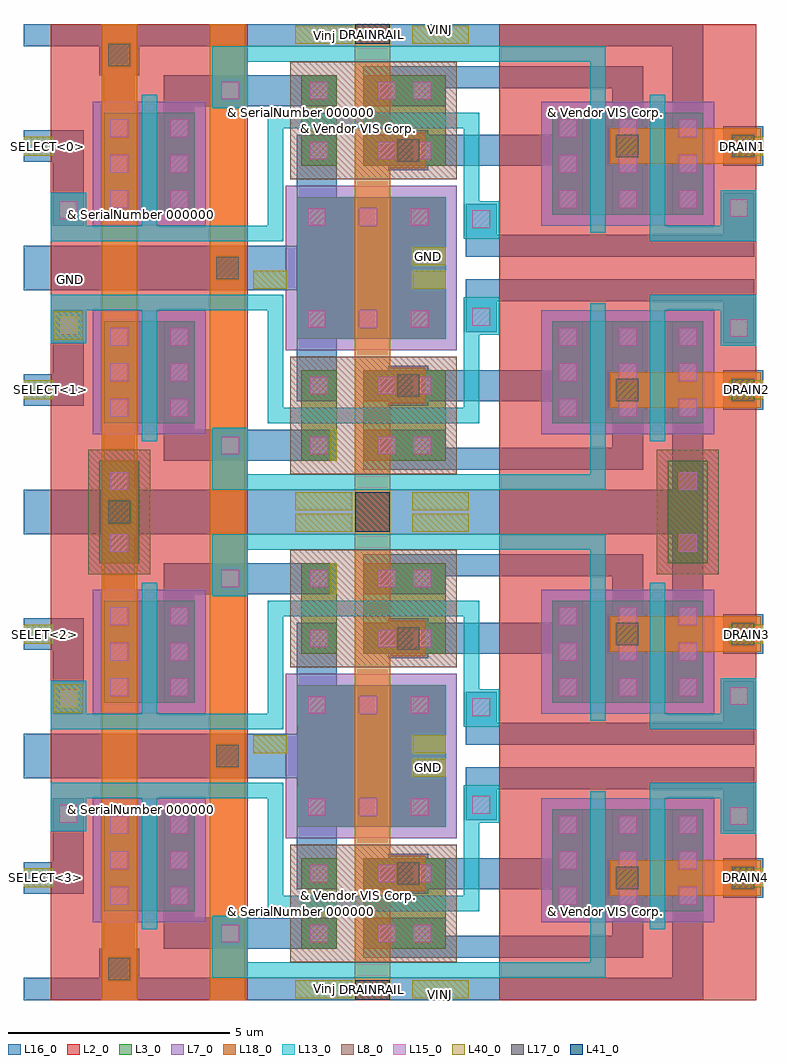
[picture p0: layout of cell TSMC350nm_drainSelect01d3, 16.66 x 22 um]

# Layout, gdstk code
import gdstk
lib = gdstk.Library(unit=1e-6, precision=1e-09)
def R(c, l, rs):  # rectangles x0, y0, x1, y1
    for r in rs: c.add(gdstk.rectangle(r[:2], r[2:], *l))
def A(c, l, x, y, w, h, nx, ny, dx, dy):  # array of equal rectangles
    R(c, l, [(x+i*dx, y+j*dy, x+i*dx+w, y+j*dy+h) for i in range(nx) for j in range(ny)])
L2_0 = (2, 0)
L3_0 = (3, 0)
L7_0 = (7, 0)
L8_0 = (8, 0)
L13_0 = (13, 0)
L15_0 = (15, 0)
L16_0 = (16, 0)
L17_0 = (17, 0)
L18_0 = (18, 0)
L40_0 = (40, 0)
L41_0 = (41, 0)

m1_poly1_cdns_7270242230 = lib.new_cell('M1_POLY1_CDNS_727024223051')
R(m1_poly1_cdns_7270242230, L13_0, [(-0.4,-0.4,0.4,0.4)])
R(m1_poly1_cdns_7270242230, L15_0, [(-0.2,-0.2,0.2,0.2)])
R(m1_poly1_cdns_7270242230, L16_0, [(-0.35,-0.35,0.35,0.35)])

tsmc350nm_vinjinv2 = lib.new_cell('TSMC350nm_VinjInv2')
R(tsmc350nm_vinjinv2, L2_0, [(0,0,4.45,5.5)])
R(tsmc350nm_vinjinv2, L3_0, [(5.55,0.7,6.45,1.6), (1.2,1.2,1.9,3.5), (1.2,1.2,1.9,3.5), (1.9,1.2,2.55,3.5), (2.55,1.2,3.25,3.5), (2.55,1.2,3.25,3.5), (5.65,2.3,6.45,3), (5.65,2.3,6.45,3), (5.65,3,6.45,3.65), (5.65,3.65,6.45,4.35), (5.65,3.65,6.45,4.35), (1.1,4.35,2,5.25)])
R(tsmc350nm_vinjinv2, L7_0, [(5.3,0,6.7,1.85), (0.95,0.95,3.5,3.75)])
R(tsmc350nm_vinjinv2, L8_0, [(5.4,2,6.7,4.65), (0.85,4.1,2.25,5.5)])
R(tsmc350nm_vinjinv2, L13_0, [(0,0.6,5.25,0.95), (4.9,0.6,5.25,3.5), (2.05,0.8,2.4,3.9), (5.25,3.15,6.85,3.5)])
A(tsmc350nm_vinjinv2, L15_0, 1.35, 1.35, 0.4, 0.4, 1, 3, 0, 0.8)
A(tsmc350nm_vinjinv2, L15_0, 2.7, 1.35, 0.4, 0.4, 1, 3, 0, 0.8)
R(tsmc350nm_vinjinv2, L15_0, [(5.8,0.95,6.2,1.35), (5.85,2.45,6.25,2.85), (5.85,3.8,6.25,4.2), (1.35,4.6,1.75,5)])
R(tsmc350nm_vinjinv2, L16_0, [(0,0,7.65,0.5), (5.55,0.02,6.45,3), (1.2,1.2,1.9,3.5), (1.2,1.2,1.9,5.45), (2.55,1.2,3.25,3.5), (2.55,1.2,3.25,4.25), (5.65,2.3,6.45,3), (2.55,3.65,6.45,4.35), (5.65,3.65,6.45,4.35), (0,5,7.65,5.5)])
R(tsmc350nm_vinjinv2, L40_0, [(4.57,0.06,5.32,0.47), (0.07,0.97,0.71,1.62), (6.3,3.65,6.45,4.35), (5.52,5.05,6.8,5.46)])
tsmc350nm_vinjinv2.add(gdstk.Reference(m1_poly1_cdns_7270242230, (0.4,1.3)))
tsmc350nm_vinjinv2.add(gdstk.Label('& SerialNumber 000000', (5.65,3.5), layer=16, texttype=0))
tsmc350nm_vinjinv2.add(gdstk.Label('& Distributor VIS', (5.65,3.5), layer=16, texttype=0))
tsmc350nm_vinjinv2.add(gdstk.Label('& Metric 1', (5.65,3.5), layer=16, texttype=0))
tsmc350nm_vinjinv2.add(gdstk.Label('& Version    \t  1.7A', (5.65,3.5), layer=16, texttype=0))
tsmc350nm_vinjinv2.add(gdstk.Label('& PDKName     vis35cv', (5.65,3.5), layer=16, texttype=0))
tsmc350nm_vinjinv2.add(gdstk.Label('& Vendor VIS Corp.', (5.65,3.5), layer=16, texttype=0))
tsmc350nm_vinjinv2.add(gdstk.Label('& SerialNumber 000000', (2.05,1.2), layer=16, texttype=0))
tsmc350nm_vinjinv2.add(gdstk.Label('& Distributor VIS', (2.05,1.2), layer=16, texttype=0))
tsmc350nm_vinjinv2.add(gdstk.Label('& Metric 1', (2.05,1.2), layer=16, texttype=0))
tsmc350nm_vinjinv2.add(gdstk.Label('& Version    \t  1.7A', (2.05,1.2), layer=16, texttype=0))
tsmc350nm_vinjinv2.add(gdstk.Label('& PDKName     vis35cv', (2.05,1.2), layer=16, texttype=0))
tsmc350nm_vinjinv2.add(gdstk.Label('& Vendor VIS Corp.', (2.05,1.2), layer=16, texttype=0))
tsmc350nm_vinjinv2.add(gdstk.Label('& SerialNumber 000000', (2.05,1.2), layer=63, texttype=63))
tsmc350nm_vinjinv2.add(gdstk.Label('& Distributor VIS', (2.05,1.2), layer=63, texttype=63))
tsmc350nm_vinjinv2.add(gdstk.Label('& Metric 1', (2.05,1.2), layer=63, texttype=63))
tsmc350nm_vinjinv2.add(gdstk.Label('& Version    \t  1.7A', (2.05,1.2), layer=63, texttype=63))
tsmc350nm_vinjinv2.add(gdstk.Label('& PDKName     vis35cv', (2.05,1.2), layer=63, texttype=63))
tsmc350nm_vinjinv2.add(gdstk.Label('& Vendor VIS Corp.', (2.05,1.2), layer=63, texttype=63))
tsmc350nm_vinjinv2.add(gdstk.Label('& SerialNumber 000000', (5.65,3.5), layer=63, texttype=63))
tsmc350nm_vinjinv2.add(gdstk.Label('& Vendor VIS Corp.', (5.65,3.5), layer=63, texttype=63))
tsmc350nm_vinjinv2.add(gdstk.Label('& PDKName     vis35cv', (5.65,3.5), layer=63, texttype=63))
tsmc350nm_vinjinv2.add(gdstk.Label('& Version    \t  1.7A', (5.65,3.5), layer=63, texttype=63))
tsmc350nm_vinjinv2.add(gdstk.Label('& Metric 1', (5.65,3.5), layer=63, texttype=63))
tsmc350nm_vinjinv2.add(gdstk.Label('& Distributor VIS', (5.65,3.5), layer=63, texttype=63))
tsmc350nm_vinjinv2.add(gdstk.Label('OUT', (6.38,3.94), layer=40, texttype=0))
tsmc350nm_vinjinv2.add(gdstk.Label('Vinj', (6.17,5.25), layer=40, texttype=0))
tsmc350nm_vinjinv2.add(gdstk.Label('IN', (0.39,1.28), layer=40, texttype=0))
tsmc350nm_vinjinv2.add(gdstk.Label('VGND', (4.97,0.26), layer=40, texttype=0))

m2_m1_cdns_727024223050 = lib.new_cell('M2_M1_CDNS_727024223050')
R(m2_m1_cdns_727024223050, L16_0, [(-0.45,-0.45,0.45,0.45)])
R(m2_m1_cdns_727024223050, L17_0, [(-0.25,-0.25,0.25,0.25)])
R(m2_m1_cdns_727024223050, L18_0, [(-0.4,-0.4,0.4,0.4)])

m1_nactive_cdns_72702422 = lib.new_cell('M1_NACTIVE_CDNS_727024223052')
R(m1_nactive_cdns_72702422, L3_0, [(-0.45,-0.45,0.45,0.45)])
R(m1_nactive_cdns_72702422, L8_0, [(-0.7,-0.7,0.7,0.7)])
R(m1_nactive_cdns_72702422, L15_0, [(-0.2,-0.2,0.2,0.2)])
R(m1_nactive_cdns_72702422, L16_0, [(-0.35,-0.35,0.35,0.35)])

tsmc350nm_tgatevinj01d3 = lib.new_cell('TSMC350nm_TgateVinj01d3')
R(tsmc350nm_tgatevinj01d3, L2_0, [(10.11,0,15.91,5.5)])
R(tsmc350nm_tgatevinj01d3, L3_0, [(6.4,0.7,8.91,1.6), (11.31,1.2,12.01,3.5), (11.31,1.2,12.01,3.5), (12.01,1.2,12.66,3.5), (12.66,1.2,13.36,3.5), (12.66,1.2,13.36,3.5), (13.36,1.2,14.01,3.5), (14.01,1.2,14.71,3.5), (14.01,1.2,14.71,3.5), (7.05,2.3,8.91,3), (7.05,2.3,8.91,3), (7.05,3,8.91,3.65), (7.05,3.65,8.91,4.35), (7.05,3.65,8.91,4.35)])
R(tsmc350nm_tgatevinj01d3, L7_0, [(6.7,0,9.16,1.85), (11.06,0.95,14.96,3.75)])
R(tsmc350nm_tgatevinj01d3, L8_0, [(6.7,2,9.16,4.65)])
R(tsmc350nm_tgatevinj01d3, L13_0, [(13.51,0.6,15.91,0.95), (9.31,0.66,9.66,3.5), (9.66,0.66,10.11,0.7), (12.16,0.8,12.51,5), (13.51,0.8,13.86,3.9), (6.65,3.15,9.31,3.5), (3.65,3.6,4.45,4.71), (3.65,4.65,12.51,5)])
A(tsmc350nm_tgatevinj01d3, L15_0, 11.46, 1.35, 0.4, 0.4, 3, 3, 1.35, 0.8)
R(tsmc350nm_tgatevinj01d3, L15_0, [(6.96,0.95,7.36,1.35), (8.12,0.95,8.52,1.35), (7.38,2.45,7.78,2.85), (8.18,2.45,8.58,2.85), (7.38,3.8,7.78,4.2), (8.18,3.8,8.58,4.2)])
R(tsmc350nm_tgatevinj01d3, L16_0, [(-0.6,0,0,0.5), (5.55,0,8.91,1.6), (6.85,0,8.91,0.5), (9.36,0.25,15.86,0.75), (15.16,0.75,15.86,1), (11.31,1.2,12.01,3.5), (12.66,1.2,13.36,3.5), (12.66,1.2,13.36,3.5), (14.01,1.2,14.71,3.5), (0.05,1.65,0.75,2.4), (7.05,2.3,8.91,3), (8.11,2.3,11.31,3), (-0.6,2.4,0.75,3.1), (12.66,3.5,13.36,4.55), (14.01,3.5,14.71,4.45), (7.05,3.65,8.91,4.35), (7.05,4.05,13.36,4.55), (-0.6,5,0,5.5), (6.85,5,14.71,5.5)])
R(tsmc350nm_tgatevinj01d3, L18_0, [(6.86,0,7.66,5.5), (12.6,2.35,15.86,3.15)])
R(tsmc350nm_tgatevinj01d3, L40_0, [(8.16,0.06,8.91,0.47), (0.1,1,0.67,1.59), (15.31,2.53,15.98,2.96), (8.15,5.05,9.43,5.46)])
R(tsmc350nm_tgatevinj01d3, L41_0, [(6.87,5.06,7.65,5.49)])
tsmc350nm_tgatevinj01d3.add(gdstk.Reference(tsmc350nm_vinjinv2, (0,0)))
tsmc350nm_tgatevinj01d3.add(gdstk.Reference(m1_poly1_cdns_7270242230, (9.71,1.1)))
tsmc350nm_tgatevinj01d3.add(gdstk.Reference(m1_poly1_cdns_7270242230, (15.51,1.35)))
tsmc350nm_tgatevinj01d3.add(gdstk.Reference(m1_poly1_cdns_7270242230, (4.05,4)))
tsmc350nm_tgatevinj01d3.add(gdstk.Reference(m2_m1_cdns_727024223050, (13,2.75)))
tsmc350nm_tgatevinj01d3.add(gdstk.Reference(m2_m1_cdns_727024223050, (15.61,2.75)))
tsmc350nm_tgatevinj01d3.add(gdstk.Reference(m2_m1_cdns_727024223050, (8.06,2.65)))
tsmc350nm_tgatevinj01d3.add(gdstk.Reference(m1_nactive_cdns_72702422, (14.36,4.8)))
tsmc350nm_tgatevinj01d3.add(gdstk.Label('& Version    \t  1.7A', (12.51,3.5), layer=16, texttype=0))
tsmc350nm_tgatevinj01d3.add(gdstk.Label('& SerialNumber 000000', (12.51,3.5), layer=16, texttype=0))
tsmc350nm_tgatevinj01d3.add(gdstk.Label('& Metric 1', (12.51,3.5), layer=16, texttype=0))
tsmc350nm_tgatevinj01d3.add(gdstk.Label('& Vendor VIS Corp.', (12.51,3.5), layer=16, texttype=0))
tsmc350nm_tgatevinj01d3.add(gdstk.Label('& Distributor VIS', (12.51,3.5), layer=16, texttype=0))
tsmc350nm_tgatevinj01d3.add(gdstk.Label('& PDKName     vis35cv', (12.51,3.5), layer=16, texttype=0))
tsmc350nm_tgatevinj01d3.add(gdstk.Label('& Distributor VIS', (13.86,3.5), layer=16, texttype=0))
tsmc350nm_tgatevinj01d3.add(gdstk.Label('& Metric 1', (13.86,3.5), layer=16, texttype=0))
tsmc350nm_tgatevinj01d3.add(gdstk.Label('& Version    \t  1.7A', (13.86,3.5), layer=16, texttype=0))
tsmc350nm_tgatevinj01d3.add(gdstk.Label('& PDKName     vis35cv', (13.86,3.5), layer=16, texttype=0))
tsmc350nm_tgatevinj01d3.add(gdstk.Label('& Vendor VIS Corp.', (13.86,3.5), layer=16, texttype=0))
tsmc350nm_tgatevinj01d3.add(gdstk.Label('& SerialNumber 000000', (13.86,3.5), layer=16, texttype=0))
tsmc350nm_tgatevinj01d3.add(gdstk.Label('& Vendor VIS Corp.', (6.95,3.15), layer=16, texttype=0))
tsmc350nm_tgatevinj01d3.add(gdstk.Label('& PDKName     vis35cv', (6.95,3.15), layer=16, texttype=0))
tsmc350nm_tgatevinj01d3.add(gdstk.Label('& Version    \t  1.7A', (6.95,3.15), layer=16, texttype=0))
tsmc350nm_tgatevinj01d3.add(gdstk.Label('& Metric 1', (6.95,3.15), layer=16, texttype=0))
tsmc350nm_tgatevinj01d3.add(gdstk.Label('& Distributor VIS', (6.95,3.15), layer=16, texttype=0))
tsmc350nm_tgatevinj01d3.add(gdstk.Label('& SerialNumber 000000', (6.95,3.15), layer=16, texttype=0))
tsmc350nm_tgatevinj01d3.add(gdstk.Label('& Vendor VIS Corp.', (7.05,3.5), layer=16, texttype=0))
tsmc350nm_tgatevinj01d3.add(gdstk.Label('& PDKName     vis35cv', (7.05,3.5), layer=16, texttype=0))
tsmc350nm_tgatevinj01d3.add(gdstk.Label('& Version    \t  1.7A', (7.05,3.5), layer=16, texttype=0))
tsmc350nm_tgatevinj01d3.add(gdstk.Label('& Metric 1', (7.05,3.5), layer=16, texttype=0))
tsmc350nm_tgatevinj01d3.add(gdstk.Label('& Distributor VIS', (7.05,3.5), layer=16, texttype=0))
tsmc350nm_tgatevinj01d3.add(gdstk.Label('& SerialNumber 000000', (7.05,3.5), layer=16, texttype=0))
tsmc350nm_tgatevinj01d3.add(gdstk.Label('& Vendor VIS Corp.', (12.51,3.5), layer=63, texttype=63))
tsmc350nm_tgatevinj01d3.add(gdstk.Label('& PDKName     vis35cv', (12.51,3.5), layer=63, texttype=63))
tsmc350nm_tgatevinj01d3.add(gdstk.Label('& Distributor VIS', (12.51,3.5), layer=63, texttype=63))
tsmc350nm_tgatevinj01d3.add(gdstk.Label('& SerialNumber 000000', (12.51,3.5), layer=63, texttype=63))
tsmc350nm_tgatevinj01d3.add(gdstk.Label('& Version    \t  1.7A', (12.51,3.5), layer=63, texttype=63))
tsmc350nm_tgatevinj01d3.add(gdstk.Label('& Metric 1', (12.51,3.5), layer=63, texttype=63))
tsmc350nm_tgatevinj01d3.add(gdstk.Label('& SerialNumber 000000', (13.86,3.5), layer=63, texttype=63))
tsmc350nm_tgatevinj01d3.add(gdstk.Label('& Distributor VIS', (13.86,3.5), layer=63, texttype=63))
tsmc350nm_tgatevinj01d3.add(gdstk.Label('& Metric 1', (13.86,3.5), layer=63, texttype=63))
tsmc350nm_tgatevinj01d3.add(gdstk.Label('& Version    \t  1.7A', (13.86,3.5), layer=63, texttype=63))
tsmc350nm_tgatevinj01d3.add(gdstk.Label('& PDKName     vis35cv', (13.86,3.5), layer=63, texttype=63))
tsmc350nm_tgatevinj01d3.add(gdstk.Label('& Vendor VIS Corp.', (13.86,3.5), layer=63, texttype=63))
tsmc350nm_tgatevinj01d3.add(gdstk.Label('& Vendor VIS Corp.', (6.95,3.15), layer=63, texttype=63))
tsmc350nm_tgatevinj01d3.add(gdstk.Label('& PDKName     vis35cv', (6.95,3.15), layer=63, texttype=63))
tsmc350nm_tgatevinj01d3.add(gdstk.Label('& Version    \t  1.7A', (6.95,3.15), layer=63, texttype=63))
tsmc350nm_tgatevinj01d3.add(gdstk.Label('& Metric 1', (6.95,3.15), layer=63, texttype=63))
tsmc350nm_tgatevinj01d3.add(gdstk.Label('& Distributor VIS', (6.95,3.15), layer=63, texttype=63))
tsmc350nm_tgatevinj01d3.add(gdstk.Label('& SerialNumber 000000', (6.95,3.15), layer=63, texttype=63))
tsmc350nm_tgatevinj01d3.add(gdstk.Label('& Vendor VIS Corp.', (7.05,3.5), layer=63, texttype=63))
tsmc350nm_tgatevinj01d3.add(gdstk.Label('& PDKName     vis35cv', (7.05,3.5), layer=63, texttype=63))
tsmc350nm_tgatevinj01d3.add(gdstk.Label('& Version    \t  1.7A', (7.05,3.5), layer=63, texttype=63))
tsmc350nm_tgatevinj01d3.add(gdstk.Label('& Metric 1', (7.05,3.5), layer=63, texttype=63))
tsmc350nm_tgatevinj01d3.add(gdstk.Label('& Distributor VIS', (7.05,3.5), layer=63, texttype=63))
tsmc350nm_tgatevinj01d3.add(gdstk.Label('& SerialNumber 000000', (7.05,3.5), layer=63, texttype=63))
tsmc350nm_tgatevinj01d3.add(gdstk.Label('VINJ', (8.78,5.37), layer=40, texttype=0))
tsmc350nm_tgatevinj01d3.add(gdstk.Label('DRAIN', (15.67,2.74), layer=40, texttype=0))
tsmc350nm_tgatevinj01d3.add(gdstk.Label('select', (0.38,1.12), layer=40, texttype=0))
tsmc350nm_tgatevinj01d3.add(gdstk.Label('GND', (8.51,0.26), layer=40, texttype=0))
tsmc350nm_tgatevinj01d3.add(gdstk.Label('DRAINRAIL', (7.25,5.27), layer=41, texttype=0))

tsmc350nm_drainselect01d = lib.new_cell('TSMC350nm_drainSelect01d3')
R(tsmc350nm_drainselect01d, L2_0, [(0.6,0,5.05,5.5), (10.71,0,16.51,5.5), (0.6,16.5,5.05,22), (10.71,16.5,16.51,22)])
R(tsmc350nm_drainselect01d, L3_0, [(6.25,1.15,7.05,1.85), (6.25,1.15,7.05,1.85), (7.65,1.15,9.51,1.85), (7.65,1.15,9.51,1.85), (6.25,1.85,7.05,2.5), (7.65,1.85,9.51,2.5), (1.8,2,2.5,4.3), (1.8,2,2.5,4.3), (2.5,2,3.15,4.3), (3.15,2,3.85,4.3), (3.15,2,3.85,4.3), (11.91,2,12.61,4.3), (11.91,2,12.61,4.3), (12.61,2,13.26,4.3), (13.26,2,13.96,4.3), (13.26,2,13.96,4.3), (13.96,2,14.61,4.3), (14.61,2,15.31,4.3), (14.61,2,15.31,4.3), (6.25,2.5,7.05,3.2), (6.25,2.5,7.05,3.2), (7.65,2.5,9.51,3.2), (7.65,2.5,9.51,3.2), (6.15,3.9,7.05,4.8), (7,3.9,9.51,4.8), (6.16,4.8,9.51,6.2), (1.7,10.75,2.6,11.25), (1.7,10.75,2.6,11.25), (14.51,10.75,15.41,11.25), (6.15,15.8,9.51,17.2), (6.15,17.2,7.05,18.1), (7,17.2,9.51,18.1), (1.8,17.7,2.5,20), (1.8,17.7,2.5,20), (2.5,17.7,3.15,20), (3.15,17.7,3.85,20), (3.15,17.7,3.85,20), (11.91,17.7,12.61,20), (11.91,17.7,12.61,20), (12.61,17.7,13.26,20), (13.26,17.7,13.96,20), (13.26,17.7,13.96,20), (13.96,17.7,14.61,20), (14.61,17.7,15.31,20), (14.61,17.7,15.31,20), (6.25,18.8,7.05,19.5), (6.25,18.8,7.05,19.5), (7.65,18.8,9.51,19.5), (7.65,18.8,9.51,19.5), (6.25,19.5,7.05,20.15), (7.65,19.5,9.51,20.15), (6.25,20.15,7.05,20.85), (6.25,20.15,7.05,20.85), (7.65,20.15,9.51,20.85), (7.65,20.15,9.51,20.85)])
R(tsmc350nm_drainselect01d, L7_0, [(1.55,1.75,4.1,4.55), (11.66,1.75,15.56,4.55), (5.9,3.65,7.3,5.5), (7.3,3.65,9.76,5.5), (5.9,16.5,7.3,18.35), (7.3,16.5,9.76,18.35), (1.55,17.45,4.1,20.25), (11.66,17.45,15.56,20.25)])
R(tsmc350nm_drainselect01d, L8_0, [(6,0.85,7.3,3.5), (7.3,0.85,9.76,3.5), (6,18.5,7.3,21.15), (7.3,18.5,9.76,21.15)])
R(tsmc350nm_drainselect01d, L13_0, [(4.25,0.5,13.11,0.85), (12.76,0.5,13.11,4.7), (4.25,0.79,5.05,1.9), (2.65,1.6,3,4.7), (14.11,1.6,14.46,4.7), (5.5,2,5.85,4.9), (5.85,2,7.45,2.35), (7.25,2,9.91,2.35), (9.91,2,10.26,4.84), (0.6,4.55,5.85,4.9), (14.11,4.55,16.51,4.9), (10.26,4.8,10.71,4.84), (0.6,17.1,5.85,17.45), (5.5,17.1,5.85,20), (14.11,17.1,16.51,17.45), (9.91,17.16,10.26,20), (10.26,17.16,10.71,17.2), (2.65,17.3,3,20.4), (12.76,17.3,13.11,21.5), (14.11,17.3,14.46,20.4), (5.85,19.65,7.45,20), (7.25,19.65,9.91,20), (4.25,20.1,5.05,21.21), (4.25,21.15,13.11,21.5)])
A(tsmc350nm_drainselect01d, L15_0, 1.95, 2.15, 0.4, 0.4, 1, 3, 0, 0.8)
A(tsmc350nm_drainselect01d, L15_0, 3.3, 2.15, 0.4, 0.4, 1, 3, 0, 0.8)
A(tsmc350nm_drainselect01d, L15_0, 12.06, 2.15, 0.4, 0.4, 3, 3, 1.35, 0.8)
A(tsmc350nm_drainselect01d, L15_0, 6.4, 4.15, 0.4, 0.4, 3, 2, 1.16, 13.3)
A(tsmc350nm_drainselect01d, L15_0, 1.95, 17.85, 0.4, 0.4, 1, 3, 0, 0.8)
A(tsmc350nm_drainselect01d, L15_0, 3.3, 17.85, 0.4, 0.4, 1, 3, 0, 0.8)
A(tsmc350nm_drainselect01d, L15_0, 12.06, 17.85, 0.4, 0.4, 3, 3, 1.35, 0.8)
R(tsmc350nm_drainselect01d, L15_0, [(6.45,1.3,6.85,1.7), (7.98,1.3,8.38,1.7), (8.78,1.3,9.18,1.7), (6.45,2.65,6.85,3.05), (7.98,2.65,8.38,3.05), (8.78,2.65,9.18,3.05), (6.45,18.95,6.85,19.35), (7.98,18.95,8.38,19.35), (8.78,18.95,9.18,19.35), (6.45,20.3,6.85,20.7), (7.98,20.3,8.38,20.7), (8.78,20.3,9.18,20.7)])
R(tsmc350nm_drainselect01d, L16_0, [(0,0,0.6,0.5), (0.6,0,8.25,0.5), (7.45,0,15.31,0.5), (1.8,0.05,2.5,4.3), (14.61,0.06,15.31,2), (7.65,0.95,13.96,1.45), (13.26,0.95,13.96,2), (3.15,1.15,7.05,1.85), (6.25,1.15,7.05,1.85), (7.65,1.15,9.51,1.85), (3.15,1.25,3.85,4.3), (1.8,2,2.5,4.3), (3.15,2,3.85,4.3), (11.91,2,12.61,4.3), (13.26,2,13.96,4.3), (13.26,2,13.96,4.3), (14.61,2,15.31,4.3), (0,2.4,1.35,3.1), (6.15,2.5,7.05,5.48), (6.25,2.5,7.05,3.2), (7.65,2.5,9.51,3.2), (8.71,2.5,11.91,3.2), (0.65,3.1,1.35,3.85), (6.15,3.9,9.51,5.5), (15.76,4.5,16.46,4.75), (9.96,4.75,16.46,5.25), (0,5,0.6,5.5), (0.6,5,8.25,5.5), (7.45,5,9.51,5.5), (0,16.5,0.6,17), (0.6,16.5,8.25,17), (6.15,16.5,9.51,18.1), (7.45,16.5,9.51,17), (6.15,16.52,7.05,19.5), (9.96,16.75,16.46,17.25), (15.76,17.25,16.46,17.5), (1.8,17.7,2.5,20), (1.8,17.7,2.5,21.95), (3.15,17.7,3.85,20), (3.15,17.7,3.85,20.75), (11.91,17.7,12.61,20), (13.26,17.7,13.96,20), (13.26,17.7,13.96,20), (14.61,17.7,15.31,20), (0.65,18.15,1.35,18.9), (6.25,18.8,7.05,19.5), (7.65,18.8,9.51,19.5), (8.71,18.8,11.91,19.5), (0,18.9,1.35,19.6), (13.26,20,13.96,21.05), (14.61,20,15.31,21.91), (3.15,20.15,7.05,20.85), (6.25,20.15,7.05,20.85), (7.65,20.15,9.51,20.85), (7.65,20.55,13.96,21.05), (0,21.5,0.6,22), (0.6,21.5,8.25,22), (7.45,21.5,15.31,22)])
R(tsmc350nm_drainselect01d, L18_0, [(1.75,0,2.55,22), (1.75,0,2.55,0.3), (4.19,0,4.99,22), (7.46,0,8.26,5.5), (13.2,2.35,16.46,3.15), (7.46,16.5,8.26,22), (13.2,18.85,16.46,19.65), (1.75,21.7,2.55,22)])
R(tsmc350nm_drainselect01d, L40_0, [(6.12,0.04,7.4,0.45), (8.75,0.04,10.03,0.45), (0,2.54,0.67,2.97), (15.99,2.54,16.66,2.97), (8.76,5.03,9.51,5.44), (0,8.03,0.67,8.46), (15.99,8.03,16.66,8.46), (0,13.54,0.67,13.97), (15.99,13.54,16.66,13.97), (8.76,16.56,9.51,16.97), (0,19.03,0.67,19.46), (15.99,19.03,16.66,19.46), (6.12,21.55,7.4,21.96), (6.12,21.55,7.4,21.96), (8.75,21.55,10.03,21.96)])
R(tsmc350nm_drainselect01d, L41_0, [(7.47,0.01,8.25,0.44), (7.47,21.56,8.25,21.99), (7.47,21.56,8.25,21.99)])
tsmc350nm_drainselect01d.add(gdstk.Reference(tsmc350nm_tgatevinj01d3, (0.6,16.5), x_reflection=True))
tsmc350nm_drainselect01d.add(gdstk.Reference(tsmc350nm_tgatevinj01d3, (0.6,5.5)))
tsmc350nm_drainselect01d.add(gdstk.Reference(m2_m1_cdns_727024223050, (13.6,2.75), x_reflection=True))
tsmc350nm_drainselect01d.add(gdstk.Reference(m2_m1_cdns_727024223050, (16.21,2.75), x_reflection=True))
tsmc350nm_drainselect01d.add(gdstk.Reference(m2_m1_cdns_727024223050, (8.66,2.85), x_reflection=True))
tsmc350nm_drainselect01d.add(gdstk.Reference(m2_m1_cdns_727024223050, (13.6,19.25)))
tsmc350nm_drainselect01d.add(gdstk.Reference(m2_m1_cdns_727024223050, (16.21,19.25)))
tsmc350nm_drainselect01d.add(gdstk.Reference(m2_m1_cdns_727024223050, (8.66,19.15)))
tsmc350nm_drainselect01d.add(gdstk.Reference(m2_m1_cdns_727024223050, (4.59,16.5)))
tsmc350nm_drainselect01d.add(gdstk.Reference(m2_m1_cdns_727024223050, (4.59,5.5)))
tsmc350nm_drainselect01d.add(gdstk.Reference(m2_m1_cdns_727024223050, (2.15,21.3)))
tsmc350nm_drainselect01d.add(gdstk.Reference(m2_m1_cdns_727024223050, (2.15,0.7)))
tsmc350nm_drainselect01d.add(gdstk.Reference(m2_m1_cdns_727024223050, (2.15,11)))
tsmc350nm_drainselect01d.add(gdstk.Reference(m1_poly1_cdns_7270242230, (1,4.2), x_reflection=True))
tsmc350nm_drainselect01d.add(gdstk.Reference(m1_poly1_cdns_7270242230, (1,17.8)))
tsmc350nm_drainselect01d.add(gdstk.Reference(m1_poly1_cdns_7270242230, (10.31,4.4), x_reflection=True))
tsmc350nm_drainselect01d.add(gdstk.Reference(m1_poly1_cdns_7270242230, (16.11,4.15), x_reflection=True))
tsmc350nm_drainselect01d.add(gdstk.Reference(m1_poly1_cdns_7270242230, (4.65,1.5), x_reflection=True))
tsmc350nm_drainselect01d.add(gdstk.Reference(m1_poly1_cdns_7270242230, (10.31,17.6)))
tsmc350nm_drainselect01d.add(gdstk.Reference(m1_poly1_cdns_7270242230, (16.11,17.85)))
tsmc350nm_drainselect01d.add(gdstk.Reference(m1_poly1_cdns_7270242230, (4.65,20.5)))
tsmc350nm_drainselect01d.add(gdstk.Label('& SerialNumber 000000', (2.65,4.3), layer=63, texttype=63))
tsmc350nm_drainselect01d.add(gdstk.Label('& Distributor VIS', (2.65,4.3), layer=63, texttype=63))
tsmc350nm_drainselect01d.add(gdstk.Label('& Metric 1', (2.65,4.3), layer=63, texttype=63))
tsmc350nm_drainselect01d.add(gdstk.Label('& Version    \t  1.7A', (2.65,4.3), layer=63, texttype=63))
tsmc350nm_drainselect01d.add(gdstk.Label('& PDKName     vis35cv', (2.65,4.3), layer=63, texttype=63))
tsmc350nm_drainselect01d.add(gdstk.Label('& Vendor VIS Corp.', (2.65,4.3), layer=63, texttype=63))
tsmc350nm_drainselect01d.add(gdstk.Label('& SerialNumber 000000', (6.25,2), layer=63, texttype=63))
tsmc350nm_drainselect01d.add(gdstk.Label('& Vendor VIS Corp.', (6.25,2), layer=63, texttype=63))
tsmc350nm_drainselect01d.add(gdstk.Label('& PDKName     vis35cv', (6.25,2), layer=63, texttype=63))
tsmc350nm_drainselect01d.add(gdstk.Label('& Version    \t  1.7A', (6.25,2), layer=63, texttype=63))
tsmc350nm_drainselect01d.add(gdstk.Label('& Metric 1', (6.25,2), layer=63, texttype=63))
tsmc350nm_drainselect01d.add(gdstk.Label('& Distributor VIS', (6.25,2), layer=63, texttype=63))
tsmc350nm_drainselect01d.add(gdstk.Label('& SerialNumber 000000', (2.65,17.7), layer=63, texttype=63))
tsmc350nm_drainselect01d.add(gdstk.Label('& Distributor VIS', (2.65,17.7), layer=63, texttype=63))
tsmc350nm_drainselect01d.add(gdstk.Label('& Metric 1', (2.65,17.7), layer=63, texttype=63))
tsmc350nm_drainselect01d.add(gdstk.Label('& Version    \t  1.7A', (2.65,17.7), layer=63, texttype=63))
tsmc350nm_drainselect01d.add(gdstk.Label('& PDKName     vis35cv', (2.65,17.7), layer=63, texttype=63))
tsmc350nm_drainselect01d.add(gdstk.Label('& Vendor VIS Corp.', (2.65,17.7), layer=63, texttype=63))
tsmc350nm_drainselect01d.add(gdstk.Label('& SerialNumber 000000', (6.25,20), layer=63, texttype=63))
tsmc350nm_drainselect01d.add(gdstk.Label('& Vendor VIS Corp.', (6.25,20), layer=63, texttype=63))
tsmc350nm_drainselect01d.add(gdstk.Label('& PDKName     vis35cv', (6.25,20), layer=63, texttype=63))
tsmc350nm_drainselect01d.add(gdstk.Label('& Version    \t  1.7A', (6.25,20), layer=63, texttype=63))
tsmc350nm_drainselect01d.add(gdstk.Label('& Metric 1', (6.25,20), layer=63, texttype=63))
tsmc350nm_drainselect01d.add(gdstk.Label('& Distributor VIS', (6.25,20), layer=63, texttype=63))
tsmc350nm_drainselect01d.add(gdstk.Label('& Vendor VIS Corp.', (13.11,2), layer=63, texttype=63))
tsmc350nm_drainselect01d.add(gdstk.Label('& PDKName     vis35cv', (13.11,2), layer=63, texttype=63))
tsmc350nm_drainselect01d.add(gdstk.Label('& Distributor VIS', (13.11,2), layer=63, texttype=63))
tsmc350nm_drainselect01d.add(gdstk.Label('& SerialNumber 000000', (13.11,2), layer=63, texttype=63))
tsmc350nm_drainselect01d.add(gdstk.Label('& Version    \t  1.7A', (13.11,2), layer=63, texttype=63))
tsmc350nm_drainselect01d.add(gdstk.Label('& Metric 1', (13.11,2), layer=63, texttype=63))
tsmc350nm_drainselect01d.add(gdstk.Label('& SerialNumber 000000', (14.46,2), layer=63, texttype=63))
tsmc350nm_drainselect01d.add(gdstk.Label('& Distributor VIS', (14.46,2), layer=63, texttype=63))
tsmc350nm_drainselect01d.add(gdstk.Label('& Metric 1', (14.46,2), layer=63, texttype=63))
tsmc350nm_drainselect01d.add(gdstk.Label('& Version    \t  1.7A', (14.46,2), layer=63, texttype=63))
tsmc350nm_drainselect01d.add(gdstk.Label('& PDKName     vis35cv', (14.46,2), layer=63, texttype=63))
tsmc350nm_drainselect01d.add(gdstk.Label('& Vendor VIS Corp.', (14.46,2), layer=63, texttype=63))
tsmc350nm_drainselect01d.add(gdstk.Label('& Vendor VIS Corp.', (7.55,2.35), layer=63, texttype=63))
tsmc350nm_drainselect01d.add(gdstk.Label('& PDKName     vis35cv', (7.55,2.35), layer=63, texttype=63))
tsmc350nm_drainselect01d.add(gdstk.Label('& Version    \t  1.7A', (7.55,2.35), layer=63, texttype=63))
tsmc350nm_drainselect01d.add(gdstk.Label('& Metric 1', (7.55,2.35), layer=63, texttype=63))
tsmc350nm_drainselect01d.add(gdstk.Label('& Distributor VIS', (7.55,2.35), layer=63, texttype=63))
tsmc350nm_drainselect01d.add(gdstk.Label('& SerialNumber 000000', (7.55,2.35), layer=63, texttype=63))
tsmc350nm_drainselect01d.add(gdstk.Label('& Vendor VIS Corp.', (7.65,2), layer=63, texttype=63))
tsmc350nm_drainselect01d.add(gdstk.Label('& PDKName     vis35cv', (7.65,2), layer=63, texttype=63))
tsmc350nm_drainselect01d.add(gdstk.Label('& Version    \t  1.7A', (7.65,2), layer=63, texttype=63))
tsmc350nm_drainselect01d.add(gdstk.Label('& Metric 1', (7.65,2), layer=63, texttype=63))
tsmc350nm_drainselect01d.add(gdstk.Label('& Distributor VIS', (7.65,2), layer=63, texttype=63))
tsmc350nm_drainselect01d.add(gdstk.Label('& SerialNumber 000000', (7.65,2), layer=63, texttype=63))
tsmc350nm_drainselect01d.add(gdstk.Label('& Vendor VIS Corp.', (13.11,20), layer=63, texttype=63))
tsmc350nm_drainselect01d.add(gdstk.Label('& PDKName     vis35cv', (13.11,20), layer=63, texttype=63))
tsmc350nm_drainselect01d.add(gdstk.Label('& Distributor VIS', (13.11,20), layer=63, texttype=63))
tsmc350nm_drainselect01d.add(gdstk.Label('& SerialNumber 000000', (13.11,20), layer=63, texttype=63))
tsmc350nm_drainselect01d.add(gdstk.Label('& Version    \t  1.7A', (13.11,20), layer=63, texttype=63))
tsmc350nm_drainselect01d.add(gdstk.Label('& Metric 1', (13.11,20), layer=63, texttype=63))
tsmc350nm_drainselect01d.add(gdstk.Label('& SerialNumber 000000', (14.46,20), layer=63, texttype=63))
tsmc350nm_drainselect01d.add(gdstk.Label('& Distributor VIS', (14.46,20), layer=63, texttype=63))
tsmc350nm_drainselect01d.add(gdstk.Label('& Metric 1', (14.46,20), layer=63, texttype=63))
tsmc350nm_drainselect01d.add(gdstk.Label('& Version    \t  1.7A', (14.46,20), layer=63, texttype=63))
tsmc350nm_drainselect01d.add(gdstk.Label('& PDKName     vis35cv', (14.46,20), layer=63, texttype=63))
tsmc350nm_drainselect01d.add(gdstk.Label('& Vendor VIS Corp.', (14.46,20), layer=63, texttype=63))
tsmc350nm_drainselect01d.add(gdstk.Label('& Vendor VIS Corp.', (7.55,19.65), layer=63, texttype=63))
tsmc350nm_drainselect01d.add(gdstk.Label('& PDKName     vis35cv', (7.55,19.65), layer=63, texttype=63))
tsmc350nm_drainselect01d.add(gdstk.Label('& Version    \t  1.7A', (7.55,19.65), layer=63, texttype=63))
tsmc350nm_drainselect01d.add(gdstk.Label('& Metric 1', (7.55,19.65), layer=63, texttype=63))
tsmc350nm_drainselect01d.add(gdstk.Label('& Distributor VIS', (7.55,19.65), layer=63, texttype=63))
tsmc350nm_drainselect01d.add(gdstk.Label('& SerialNumber 000000', (7.55,19.65), layer=63, texttype=63))
tsmc350nm_drainselect01d.add(gdstk.Label('& Vendor VIS Corp.', (7.65,20), layer=63, texttype=63))
tsmc350nm_drainselect01d.add(gdstk.Label('& PDKName     vis35cv', (7.65,20), layer=63, texttype=63))
tsmc350nm_drainselect01d.add(gdstk.Label('& Version    \t  1.7A', (7.65,20), layer=63, texttype=63))
tsmc350nm_drainselect01d.add(gdstk.Label('& Metric 1', (7.65,20), layer=63, texttype=63))
tsmc350nm_drainselect01d.add(gdstk.Label('& Distributor VIS', (7.65,20), layer=63, texttype=63))
tsmc350nm_drainselect01d.add(gdstk.Label('& SerialNumber 000000', (7.65,20), layer=63, texttype=63))
tsmc350nm_drainselect01d.add(gdstk.Label('& SerialNumber 000000', (6.25,2), layer=16, texttype=0))
tsmc350nm_drainselect01d.add(gdstk.Label('& Distributor VIS', (6.25,2), layer=16, texttype=0))
tsmc350nm_drainselect01d.add(gdstk.Label('& Metric 1', (6.25,2), layer=16, texttype=0))
tsmc350nm_drainselect01d.add(gdstk.Label('& Version    \t  1.7A', (6.25,2), layer=16, texttype=0))
tsmc350nm_drainselect01d.add(gdstk.Label('& PDKName     vis35cv', (6.25,2), layer=16, texttype=0))
tsmc350nm_drainselect01d.add(gdstk.Label('& Vendor VIS Corp.', (6.25,2), layer=16, texttype=0))
tsmc350nm_drainselect01d.add(gdstk.Label('& SerialNumber 000000', (2.65,4.3), layer=16, texttype=0))
tsmc350nm_drainselect01d.add(gdstk.Label('& Distributor VIS', (2.65,4.3), layer=16, texttype=0))
tsmc350nm_drainselect01d.add(gdstk.Label('& Metric 1', (2.65,4.3), layer=16, texttype=0))
tsmc350nm_drainselect01d.add(gdstk.Label('& Version    \t  1.7A', (2.65,4.3), layer=16, texttype=0))
tsmc350nm_drainselect01d.add(gdstk.Label('& PDKName     vis35cv', (2.65,4.3), layer=16, texttype=0))
tsmc350nm_drainselect01d.add(gdstk.Label('& Vendor VIS Corp.', (2.65,4.3), layer=16, texttype=0))
tsmc350nm_drainselect01d.add(gdstk.Label('& SerialNumber 000000', (6.25,20), layer=16, texttype=0))
tsmc350nm_drainselect01d.add(gdstk.Label('& Distributor VIS', (6.25,20), layer=16, texttype=0))
tsmc350nm_drainselect01d.add(gdstk.Label('& Metric 1', (6.25,20), layer=16, texttype=0))
tsmc350nm_drainselect01d.add(gdstk.Label('& Version    \t  1.7A', (6.25,20), layer=16, texttype=0))
tsmc350nm_drainselect01d.add(gdstk.Label('& PDKName     vis35cv', (6.25,20), layer=16, texttype=0))
tsmc350nm_drainselect01d.add(gdstk.Label('& Vendor VIS Corp.', (6.25,20), layer=16, texttype=0))
tsmc350nm_drainselect01d.add(gdstk.Label('& SerialNumber 000000', (2.65,17.7), layer=16, texttype=0))
tsmc350nm_drainselect01d.add(gdstk.Label('& Distributor VIS', (2.65,17.7), layer=16, texttype=0))
tsmc350nm_drainselect01d.add(gdstk.Label('& Metric 1', (2.65,17.7), layer=16, texttype=0))
tsmc350nm_drainselect01d.add(gdstk.Label('& Version    \t  1.7A', (2.65,17.7), layer=16, texttype=0))
tsmc350nm_drainselect01d.add(gdstk.Label('& PDKName     vis35cv', (2.65,17.7), layer=16, texttype=0))
tsmc350nm_drainselect01d.add(gdstk.Label('& Vendor VIS Corp.', (2.65,17.7), layer=16, texttype=0))
tsmc350nm_drainselect01d.add(gdstk.Label('& Version    \t  1.7A', (13.11,2), layer=16, texttype=0))
tsmc350nm_drainselect01d.add(gdstk.Label('& SerialNumber 000000', (13.11,2), layer=16, texttype=0))
tsmc350nm_drainselect01d.add(gdstk.Label('& Metric 1', (13.11,2), layer=16, texttype=0))
tsmc350nm_drainselect01d.add(gdstk.Label('& Vendor VIS Corp.', (13.11,2), layer=16, texttype=0))
tsmc350nm_drainselect01d.add(gdstk.Label('& Distributor VIS', (13.11,2), layer=16, texttype=0))
tsmc350nm_drainselect01d.add(gdstk.Label('& PDKName     vis35cv', (13.11,2), layer=16, texttype=0))
tsmc350nm_drainselect01d.add(gdstk.Label('& Distributor VIS', (14.46,2), layer=16, texttype=0))
tsmc350nm_drainselect01d.add(gdstk.Label('& Metric 1', (14.46,2), layer=16, texttype=0))
tsmc350nm_drainselect01d.add(gdstk.Label('& Version    \t  1.7A', (14.46,2), layer=16, texttype=0))
tsmc350nm_drainselect01d.add(gdstk.Label('& PDKName     vis35cv', (14.46,2), layer=16, texttype=0))
tsmc350nm_drainselect01d.add(gdstk.Label('& Vendor VIS Corp.', (14.46,2), layer=16, texttype=0))
tsmc350nm_drainselect01d.add(gdstk.Label('& SerialNumber 000000', (14.46,2), layer=16, texttype=0))
tsmc350nm_drainselect01d.add(gdstk.Label('& Vendor VIS Corp.', (7.55,2.35), layer=16, texttype=0))
tsmc350nm_drainselect01d.add(gdstk.Label('& PDKName     vis35cv', (7.55,2.35), layer=16, texttype=0))
tsmc350nm_drainselect01d.add(gdstk.Label('& Version    \t  1.7A', (7.55,2.35), layer=16, texttype=0))
tsmc350nm_drainselect01d.add(gdstk.Label('& Metric 1', (7.55,2.35), layer=16, texttype=0))
tsmc350nm_drainselect01d.add(gdstk.Label('& Distributor VIS', (7.55,2.35), layer=16, texttype=0))
tsmc350nm_drainselect01d.add(gdstk.Label('& SerialNumber 000000', (7.55,2.35), layer=16, texttype=0))
tsmc350nm_drainselect01d.add(gdstk.Label('& Vendor VIS Corp.', (7.65,2), layer=16, texttype=0))
tsmc350nm_drainselect01d.add(gdstk.Label('& PDKName     vis35cv', (7.65,2), layer=16, texttype=0))
tsmc350nm_drainselect01d.add(gdstk.Label('& Version    \t  1.7A', (7.65,2), layer=16, texttype=0))
tsmc350nm_drainselect01d.add(gdstk.Label('& Metric 1', (7.65,2), layer=16, texttype=0))
tsmc350nm_drainselect01d.add(gdstk.Label('& Distributor VIS', (7.65,2), layer=16, texttype=0))
tsmc350nm_drainselect01d.add(gdstk.Label('& SerialNumber 000000', (7.65,2), layer=16, texttype=0))
tsmc350nm_drainselect01d.add(gdstk.Label('& Version    \t  1.7A', (13.11,20), layer=16, texttype=0))
tsmc350nm_drainselect01d.add(gdstk.Label('& SerialNumber 000000', (13.11,20), layer=16, texttype=0))
tsmc350nm_drainselect01d.add(gdstk.Label('& Metric 1', (13.11,20), layer=16, texttype=0))
tsmc350nm_drainselect01d.add(gdstk.Label('& Vendor VIS Corp.', (13.11,20), layer=16, texttype=0))
tsmc350nm_drainselect01d.add(gdstk.Label('& Distributor VIS', (13.11,20), layer=16, texttype=0))
tsmc350nm_drainselect01d.add(gdstk.Label('& PDKName     vis35cv', (13.11,20), layer=16, texttype=0))
tsmc350nm_drainselect01d.add(gdstk.Label('& Distributor VIS', (14.46,20), layer=16, texttype=0))
tsmc350nm_drainselect01d.add(gdstk.Label('& Metric 1', (14.46,20), layer=16, texttype=0))
tsmc350nm_drainselect01d.add(gdstk.Label('& Version    \t  1.7A', (14.46,20), layer=16, texttype=0))
tsmc350nm_drainselect01d.add(gdstk.Label('& PDKName     vis35cv', (14.46,20), layer=16, texttype=0))
tsmc350nm_drainselect01d.add(gdstk.Label('& Vendor VIS Corp.', (14.46,20), layer=16, texttype=0))
tsmc350nm_drainselect01d.add(gdstk.Label('& SerialNumber 000000', (14.46,20), layer=16, texttype=0))
tsmc350nm_drainselect01d.add(gdstk.Label('& Vendor VIS Corp.', (7.55,19.65), layer=16, texttype=0))
tsmc350nm_drainselect01d.add(gdstk.Label('& PDKName     vis35cv', (7.55,19.65), layer=16, texttype=0))
tsmc350nm_drainselect01d.add(gdstk.Label('& Version    \t  1.7A', (7.55,19.65), layer=16, texttype=0))
tsmc350nm_drainselect01d.add(gdstk.Label('& Metric 1', (7.55,19.65), layer=16, texttype=0))
tsmc350nm_drainselect01d.add(gdstk.Label('& Distributor VIS', (7.55,19.65), layer=16, texttype=0))
tsmc350nm_drainselect01d.add(gdstk.Label('& SerialNumber 000000', (7.55,19.65), layer=16, texttype=0))
tsmc350nm_drainselect01d.add(gdstk.Label('& Vendor VIS Corp.', (7.65,20), layer=16, texttype=0))
tsmc350nm_drainselect01d.add(gdstk.Label('& PDKName     vis35cv', (7.65,20), layer=16, texttype=0))
tsmc350nm_drainselect01d.add(gdstk.Label('& Version    \t  1.7A', (7.65,20), layer=16, texttype=0))
tsmc350nm_drainselect01d.add(gdstk.Label('& Metric 1', (7.65,20), layer=16, texttype=0))
tsmc350nm_drainselect01d.add(gdstk.Label('& Distributor VIS', (7.65,20), layer=16, texttype=0))
tsmc350nm_drainselect01d.add(gdstk.Label('& SerialNumber 000000', (7.65,20), layer=16, texttype=0))
tsmc350nm_drainselect01d.add(gdstk.Label('Vinj', (6.77,0.25), layer=40, texttype=0))
tsmc350nm_drainselect01d.add(gdstk.Label('Vinj', (6.77,21.75), layer=40, texttype=0))
tsmc350nm_drainselect01d.add(gdstk.Label('VINJ', (9.38,0.13), layer=40, texttype=0))
tsmc350nm_drainselect01d.add(gdstk.Label('GND', (9.11,5.24), layer=40, texttype=0))
tsmc350nm_drainselect01d.add(gdstk.Label('VINJ', (9.38,21.87), layer=40, texttype=0))
tsmc350nm_drainselect01d.add(gdstk.Label('GND', (9.11,16.76), layer=40, texttype=0))
tsmc350nm_drainselect01d.add(gdstk.Label('DRAIN4', (16.27,2.76), layer=40, texttype=0))
tsmc350nm_drainselect01d.add(gdstk.Label('DRAIN3', (16.28,8.24), layer=40, texttype=0))
tsmc350nm_drainselect01d.add(gdstk.Label('DRAIN2', (16.28,13.76), layer=40, texttype=0))
tsmc350nm_drainselect01d.add(gdstk.Label('DRAIN1', (16.19,19.24), layer=40, texttype=0))
tsmc350nm_drainselect01d.add(gdstk.Label('SELECT<3>', (0.49,2.76), layer=40, texttype=0))
tsmc350nm_drainselect01d.add(gdstk.Label('SELET<2>', (0.46,8.24), layer=40, texttype=0))
tsmc350nm_drainselect01d.add(gdstk.Label('SELECT<1>', (0.59,13.76), layer=40, texttype=0))
tsmc350nm_drainselect01d.add(gdstk.Label('SELECT<0>', (0.52,19.24), layer=40, texttype=0))
tsmc350nm_drainselect01d.add(gdstk.Label('VINJ', (6.77,21.88), layer=40, texttype=0))
tsmc350nm_drainselect01d.add(gdstk.Label('GND', (1.05,16.25), layer=40, texttype=0))
tsmc350nm_drainselect01d.add(gdstk.Label('DRAINRAIL', (7.85,0.23), layer=41, texttype=0))
tsmc350nm_drainselect01d.add(gdstk.Label('DRAINRAIL', (7.85,21.77), layer=41, texttype=0))
tsmc350nm_drainselect01d.add(gdstk.Label('DRAINRAIL', (7.85,21.77), layer=41, texttype=0))

lib.write_gds('TSMC350nm_drainSelect01d3.gds')
